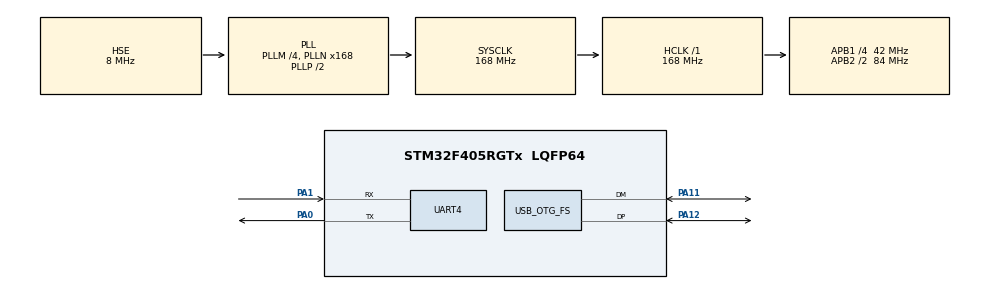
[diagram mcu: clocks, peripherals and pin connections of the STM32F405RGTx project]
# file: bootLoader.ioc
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Mcu.Family=STM32F4
Mcu.Name=STM32F405RGTx
Mcu.Package=LQFP64
NVIC.OTG_FS_IRQn=true\:0\:0\:false\:false\:true\:false\:true\:true
NVIC.PriorityGroup=NVIC_PRIORITYGROUP_4
PA0-WKUP.Mode=Asynchronous
PA0-WKUP.Signal=UART4_TX
PA1.Mode=Asynchronous
PA1.Signal=UART4_RX
PA11.Mode=Device_Only
PA11.Signal=USB_OTG_FS_DM
PA12.Mode=Device_Only
PA12.Signal=USB_OTG_FS_DP
PA13.Mode=Serial_Wire
PA13.Signal=SYS_JTMS-SWDIO
PA14.Mode=Serial_Wire
PA14.Signal=SYS_JTCK-SWCLK
PH0-OSC_IN.Mode=HSE-External-Oscillator
PH0-OSC_IN.Signal=RCC_OSC_IN
PH1-OSC_OUT.Mode=HSE-External-Oscillator
PH1-OSC_OUT.Signal=RCC_OSC_OUT
ProjectManager.HeapSize=0x200
ProjectManager.StackSize=0x400
ProjectManager.TargetToolchain=Makefile
RCC.48MHZClocksFreq_Value=48000000
RCC.AHBFreq_Value=168000000
RCC.APB1CLKDivider=RCC_HCLK_DIV4
RCC.APB1Freq_Value=42000000
RCC.APB1TimFreq_Value=84000000
RCC.APB2CLKDivider=RCC_HCLK_DIV2
RCC.APB2Freq_Value=84000000
RCC.APB2TimFreq_Value=168000000
RCC.CortexFreq_Value=168000000
RCC.HCLKFreq_Value=168000000
RCC.HSE_VALUE=8000000
RCC.HSI_VALUE=16000000
RCC.LSE_VALUE=32768
RCC.PLLM=4
RCC.PLLN=168
RCC.PLLQ=7
RCC.SYSCLKFreq_VALUE=168000000
RCC.SYSCLKSource=RCC_SYSCLKSOURCE_PLLCLK
RCC.VCOOutputFreq_Value=336000000
UART4.VirtualMode=Asynchronous
USB_DEVICE.CLASS_NAME_FS=CDC
USB_DEVICE.PRODUCT_STRING_CDC_FS=electronbot@wenyz
USB_DEVICE.USBD_MAX_NUM_INTERFACES-CDC_FS=1
USB_DEVICE.VirtualMode-CDC_FS=Cdc
USB_DEVICE.VirtualModeFS=Cdc_FS
USB_OTG_FS.VirtualMode=Device_Only
VP_USB_DEVICE_VS_USB_DEVICE_CDC_FS.Mode=CDC_FS
board=custom

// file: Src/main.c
/* USER CODE BEGIN Header */
/**
  ******************************************************************************
  * @file           : main.c
  * @brief          : Main program body
  ******************************************************************************
  * @attention
  *
  * Copyright (c) 2022 STMicroelectronics.
  * All rights reserved.
  *
  * This software is licensed under terms that can be found in the LICENSE file
  * in the root directory of this software component.
  * If no LICENSE file comes with this software, it is provided AS-IS.
  *
  ******************************************************************************
  */
/* USER CODE END Header */
#include "main.h"
#include "usart.h"
#include "usb_device.h"
#include "gpio.h"

/* USER CODE BEGIN Includes */
#include<stdio.h>
#include "usbd_cdc_if.h"
/* USER CODE END Includes */

void SystemClock_Config(void);

/* USER CODE BEGIN 0 */
uint32_t _reboot_cookie __attribute__ ((section (".noinit")));
extern char _estack;
int _write(int fd, char *ch, int len)
{
  HAL_UART_Transmit(&huart4, (uint8_t*)ch, len, 0xFFFF);
  return len;
}

void early_start_checks(void) {
  if(_reboot_cookie == 0xaa556699)
  {
    __set_MSP((uintptr_t)&_estack);
    printf("tttt begin...\r\n");
    // __set_MSP(*(uint32_t *)0x8006000);
    void (*electronbotApp)(void) = (void (*)(void))(*((uint32_t *)0x8006004));
    electronbotApp();

  }

  /* The bootloader might fail to properly clean up after itself,
  so if we're not sure that the system is in a clean state we
  just reset it again */
/*   if(_reboot_cookie != 42)
  {
    _reboot_cookie = 42;
    NVIC_SystemReset();
  }*/
}
int recvFlag=0;
/* USER CODE END 0 */

int main(void)
{

  /* MCU Configuration--------------------------------------------------------*/

  /* Reset of all peripherals, Initializes the Flash interface and the Systick. */
  HAL_Init();

  /* Configure the system clock */
  SystemClock_Config();

  MX_UART4_Init();
  /* Initialize all configured peripherals */
  MX_GPIO_Init();
  MX_USB_DEVICE_Init();

  /* USER CODE BEGIN 2 */
  printf("bootLoader begin...\r\n");
  /* USER CODE END 2 */

  /* Infinite loop */
  /* USER CODE BEGIN WHILE */
  while (1)
  {
    uint32_t timeStart=HAL_GetTick();
    while(HAL_GetTick()-timeStart<1000);
    // printf("bootLoader run...\r\n");
    if(recvFlag)
    {
      uint8_t ret=CDC_Transmit_FS((uint8_t*)"hello wenyz",11,ODRIVE_IN_EP);
      printf("ret=%d\r\n",ret);
      // recvFlag = 0;
    }
    /* USER CODE END WHILE */

  }
}

void SystemClock_Config(void)
{
  RCC_OscInitTypeDef RCC_OscInitStruct = {0};
  RCC_ClkInitTypeDef RCC_ClkInitStruct = {0};

  /** Configure the main internal regulator output voltage
  */
  __HAL_RCC_PWR_CLK_ENABLE();
  __HAL_PWR_VOLTAGESCALING_CONFIG(PWR_REGULATOR_VOLTAGE_SCALE1);

  /** Initializes the RCC Oscillators according to the specified parameters
  * in the RCC_OscInitTypeDef structure.
  */
  RCC_OscInitStruct.OscillatorType = RCC_OSCILLATORTYPE_HSE;
  RCC_OscInitStruct.HSEState = RCC_HSE_ON;
  RCC_OscInitStruct.PLL.PLLState = RCC_PLL_ON;
  RCC_OscInitStruct.PLL.PLLSource = RCC_PLLSOURCE_HSE;
  RCC_OscInitStruct.PLL.PLLM = 4;
  RCC_OscInitStruct.PLL.PLLN = 168;
  RCC_OscInitStruct.PLL.PLLP = RCC_PLLP_DIV2;
  RCC_OscInitStruct.PLL.PLLQ = 7;
  if (HAL_RCC_OscConfig(&RCC_OscInitStruct) != HAL_OK)
  {
    Error_Handler();
  }

  /** Initializes the CPU, AHB and APB buses clocks
  */
  RCC_ClkInitStruct.ClockType = RCC_CLOCKTYPE_HCLK|RCC_CLOCKTYPE_SYSCLK
                              |RCC_CLOCKTYPE_PCLK1|RCC_CLOCKTYPE_PCLK2;
  RCC_ClkInitStruct.SYSCLKSource = RCC_SYSCLKSOURCE_PLLCLK;
  RCC_ClkInitStruct.AHBCLKDivider = RCC_SYSCLK_DIV1;
  RCC_ClkInitStruct.APB1CLKDivider = RCC_HCLK_DIV4;
  RCC_ClkInitStruct.APB2CLKDivider = RCC_HCLK_DIV2;

  if (HAL_RCC_ClockConfig(&RCC_ClkInitStruct, FLASH_LATENCY_5) != HAL_OK)
  {
    Error_Handler();
  }
}

void Error_Handler(void)
{
  __disable_irq();
  while (1)
  {
  }
}
